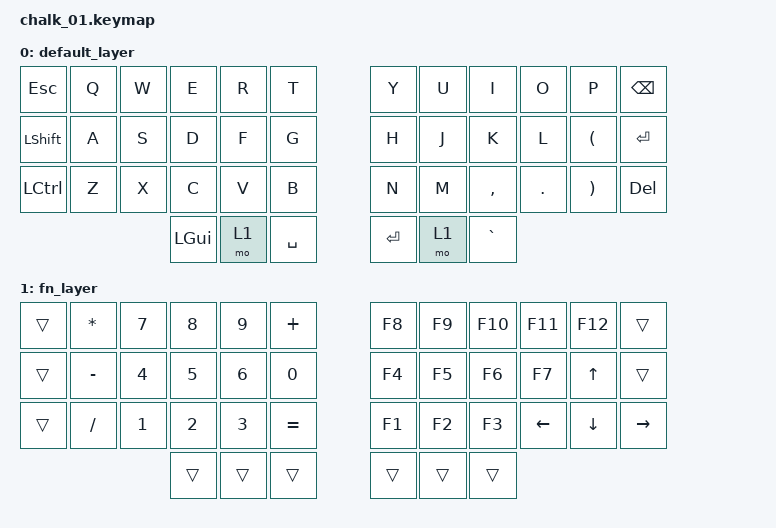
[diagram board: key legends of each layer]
#include <behaviors.dtsi>
#include <dt-bindings/zmk/keys.h>

/ {
    keymap {
        compatible = "zmk,keymap";

        // 0: 通常レイヤー
        default_layer {
            bindings = <
                &kp ESC   &kp Q &kp W &kp E &kp R &kp T    &kp Y &kp U &kp I     &kp O   &kp P    &kp BSPC
                &kp LSHFT &kp A &kp S &kp D &kp F &kp G    &kp H &kp J &kp K     &kp L   &kp LPAR &kp RET
                &kp LCTRL &kp Z &kp X &kp C &kp V &kp B    &kp N &kp M &kp COMMA &kp DOT &kp RPAR &kp DEL
                                &kp LGUI &mo 1 &kp SPACE   &kp RET &mo 1 &kp GRAVE
            >;
        };

        // 1: Fnレイヤー (Fnキーを押している間)
        fn_layer {
            bindings = <
                &trans &kp ASTERISK &kp N7 &kp N8 &kp N9 &kp PLUS     &kp F8 &kp F9 &kp F10 &kp F11  &kp F12  &trans
                &trans &kp MINUS    &kp N4 &kp N5 &kp N6 &kp N0       &kp F4 &kp F5 &kp F6  &kp F7   &kp UP   &trans
                &trans &kp SLASH    &kp N1 &kp N2 &kp N3 &kp EQUAL    &kp F1 &kp F2 &kp F3  &kp LEFT &kp DOWN &kp RIGHT
                                         &trans &trans &trans       &trans &trans &trans
            >;
        };
    };
};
